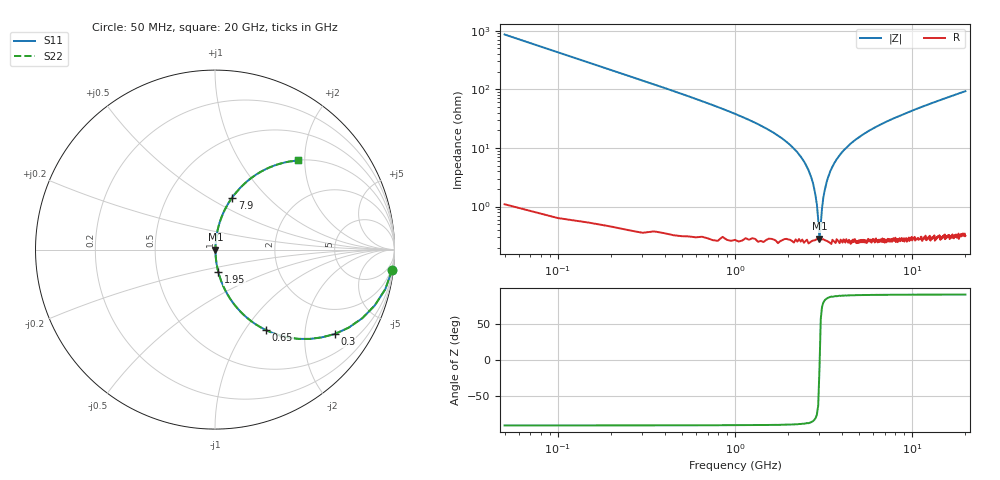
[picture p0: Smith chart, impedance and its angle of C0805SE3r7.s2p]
! AVX Thin Film Operation		Date: April 2012
! Description: Accu-P® Series, Thin Film, SMD, RF Capacitor
! Part Number: 08051J3R7ABTTR
!	100	MHz	-	20.05	GHz
!	Serial	Measurements
#	MHZ	S	MA	R	50
!	S11	S21	S12	S22
!	dB	Phase	dB	Phase	dB	Phase	dB	Phase
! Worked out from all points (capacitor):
!   400 points, 50 MHz to 20 GHz, reference 50 ohm
!   read as one part in series: C = 3.7 pF near 150 MHz
!   lowest |Z| = 284 mohm at 3 GHz (marker M1)
!   series resonance near 3.006 GHz, so ESL is about 760 pH
!   S11 on the Smith chart (normalised r, x): 50 MHz: 1, -17; 300 MHz: 1.01, -2.84; 650 MHz: 1.01, -1.26; 1.95 GHz: 1.01, -0.25; 7.9 GHz: 1.01, +0.64; 20 GHz: 1.01, +1.86
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50  0.993 -6.6  0.115 83.3  0.115 83.3  0.993 -6.6
100  0.974 -13.1  0.227 76.8  0.227 76.8  0.974 -13.1
150  0.943 -19.3  0.33 70.6  0.33 70.6  0.943 -19.3
300  0.817 -35.1  0.575 54.7  0.575 54.7  0.817 -35.1
650  0.532 -57.6  0.844 32.2  0.844 32.2  0.532 -57.6
1100  0.32 -70.9  0.945 18.7  0.945 18.7  0.32 -70.9
1950  0.126 -81.6  0.989 7.3  0.989 7.3  0.126 -81.6
2450  0.059 -84.2  0.996 3.4  0.996 3.4  0.059 -84.2
2750  0.026 -82.8  0.997 1.5  0.997 1.5  0.026 -82.8
2900  0.011 -75.5  0.997 0.6  0.997 0.6  0.011 -75.5
3000  0.002604 -12.6  0.997 0.0  0.997 0.0  0.002604 -12.6
3100  0.009152 73.4  0.997 -0.5  0.997 -0.5  0.009152 73.4
3150  0.014 78.5  0.997 -0.8  0.997 -0.8  0.014 78.5
3400  0.035 83.9  0.997 -2.0  0.997 -2.0  0.035 83.9
3750  0.064 84.1  0.995 -3.6  0.995 -3.6  0.064 84.1
4500  0.118 82.0  0.991 -6.7  0.991 -6.7  0.118 82.0
6700  0.246 75.2  0.967 -14.3  0.967 -14.3  0.246 75.2
7900  0.305 71.7  0.95 -17.8  0.95 -17.8  0.305 71.7
10050  0.398 66.2  0.915 -23.5  0.915 -23.5  0.398 66.2
13350  0.515 58.7  0.854 -31.0  0.854 -31.0  0.515 58.7
16700  0.609 52.3  0.791 -37.5  0.791 -37.5  0.609 52.3
20000  0.68 47.0  0.731 -42.8  0.731 -42.8  0.68 47.0
